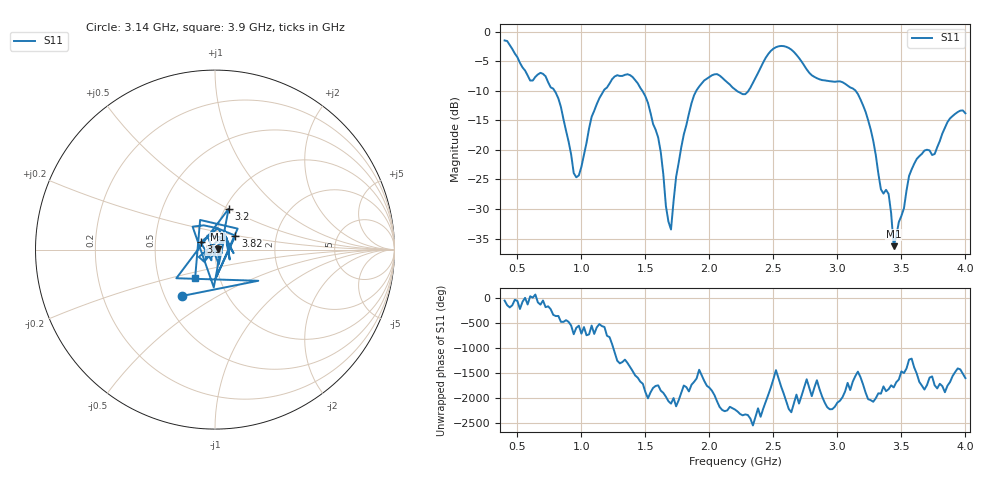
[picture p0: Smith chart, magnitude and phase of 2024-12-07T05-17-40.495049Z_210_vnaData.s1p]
!Created with skrf (http://scikit-rf.org).
# Hz S RI R 50.0
!freq ReS11 ImS11
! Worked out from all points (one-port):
!   181 points, 400 MHz to 4 GHz, reference 50 ohm
!   lowest |S11| = -36.3 dB at 3.44 GHz (marker M1), VSWR 1.03, Z = 51.5 + j0.25 ohm
!   |S11| at or under -10 dB: 790.4 MHz to 1.174 GHz (383.6 MHz wide, 39.1 % of centre); 1.476 GHz to 1.898 GHz (421.8 MHz wide, 25 % of centre); 3.142 GHz to end of sweep (the widest 3 of 4)
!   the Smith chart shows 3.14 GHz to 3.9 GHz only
!   S11 on the Smith chart (normalised r, x): 3.14 GHz: 0.61, -0.35; 3.2 GHz: 1.04, +0.50; 3.3 GHz: 0.85, +0.07; 3.82 GHz: 1.24, +0.20; 3.9 GHz: 0.76, -0.25
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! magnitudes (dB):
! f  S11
! 400 MHz  -1.5
! 600 MHz  -8.3
! 720 MHz  -7.5
! 860 MHz  -14.8
! 940 MHz  -23.9
! 980 MHz  -24.3
! 1.12 GHz  -12.3
! 1.3 GHz  -7.5
! 1.52 GHz  -12.0
! 1.6 GHz  -17.9
! 1.7 GHz  -33.5
! 1.76 GHz  -22.2
! 1.92 GHz  -9.3
! 2.2 GHz  -9.8
! 2.3 GHz  -10.2
! 2.5 GHz  -2.9
! 2.66 GHz  -3.4
! 3.1 GHz  -9.4
! 3.14 GHz  -9.9
! 3.2 GHz  -12.4
! 3.3 GHz  -20.9
! 3.34 GHz  -26.7
! 3.4 GHz  -27.4
! 3.44 GHz  -36.3
! 3.56 GHz  -24.4
! 3.82 GHz  -17.2
! 3.9 GHz  -14.3
! 4 GHz  -13.8
